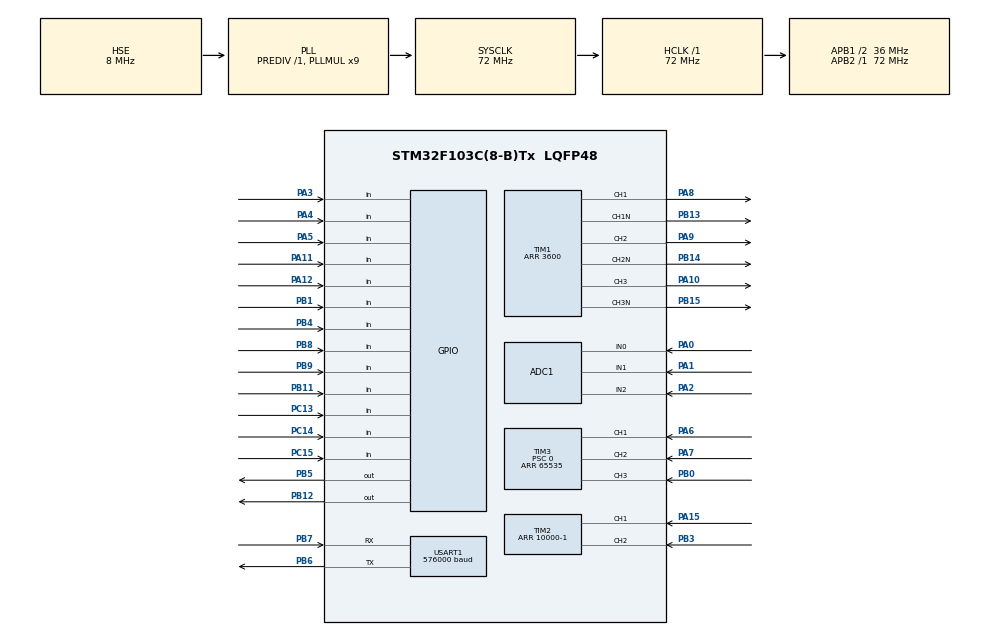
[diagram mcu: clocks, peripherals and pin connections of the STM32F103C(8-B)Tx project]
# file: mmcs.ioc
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ADC1.Channel-1\#ChannelInjectedConversion=ADC_CHANNEL_2
ADC1.EnableInjectedConversion=ENABLE
ADC1.EnableRegularConversion=DISABLE
ADC1.ExternalTrigInjecConv=ADC_EXTERNALTRIGINJECCONV_T1_CC4
ADC1.InjNumberOfConversion=1
ADC1.InjectedConvMode=Discontinuous
ADC1.InjectedOffset-1\#ChannelInjectedConversion=0
ADC1.InjectedRank-1\#ChannelInjectedConversion=1
ADC1.SamplingTime-1\#ChannelInjectedConversion=ADC_SAMPLETIME_7CYCLES_5
ADC1.master=1
ADC2.Channel-1\#ChannelInjectedConversion=ADC_CHANNEL_1
ADC2.EnableInjectedConversion=ENABLE
ADC2.EnableRegularConversion=DISABLE
ADC2.ExternalTrigInjecConv=ADC_EXTERNALTRIGINJECCONV_T1_CC4
ADC2.InjNumberOfConversion=1
ADC2.InjectedConvMode=Discontinuous
ADC2.InjectedOffset-1\#ChannelInjectedConversion=0
ADC2.InjectedRank-1\#ChannelInjectedConversion=1
ADC2.SamplingTime-1\#ChannelInjectedConversion=ADC_SAMPLETIME_7CYCLES_5
Mcu.Family=STM32F1
Mcu.Name=STM32F103C(8-B)Tx
Mcu.Package=LQFP48
NVIC.ADC1_2_IRQn=true\:2\:0\:true\:false\:true\:true\:true\:true
NVIC.PriorityGroup=NVIC_PRIORITYGROUP_4
NVIC.TIM1_UP_IRQn=true\:0\:0\:false\:false\:true\:true\:true\:true
NVIC.TIM2_IRQn=true\:3\:0\:true\:false\:true\:true\:true\:true
NVIC.TIM3_IRQn=true\:3\:0\:true\:false\:true\:true\:true\:true
NVIC.USART1_IRQn=true\:3\:0\:true\:false\:true\:true\:true\:true
PA0-WKUP.Signal=ADCx_IN0
PA1.Signal=ADCx_IN1
PA10.Signal=S_TIM1_CH3
PA11.GPIO_PuPd=GPIO_PULLUP
PA11.Signal=GPIO_Input
PA12.GPIO_PuPd=GPIO_PULLUP
PA12.Signal=GPIO_Input
PA13.Mode=Serial_Wire
PA13.Signal=SYS_JTMS-SWDIO
PA14.Mode=Serial_Wire
PA14.Signal=SYS_JTCK-SWCLK
PA15.Signal=S_TIM2_CH1_ETR
PA2.Signal=ADCx_IN2
PA3.Signal=GPIO_Input
PA4.Signal=GPIO_Input
PA5.Signal=GPIO_Input
PA6.GPIO_PuPd=GPIO_PULLUP
PA6.Signal=S_TIM3_CH1
PA7.GPIO_PuPd=GPIO_PULLUP
PA7.Signal=S_TIM3_CH2
PA8.Signal=S_TIM1_CH1
PA9.Signal=S_TIM1_CH2
PB0.GPIO_PuPd=GPIO_PULLUP
PB0.Signal=S_TIM3_CH3
PB1.Signal=GPIO_Input
PB10.Signal=S_TIM2_CH3
PB11.Signal=GPIO_Input
PB12.Signal=GPIO_Output
PB13.Mode=PWM Generation1 CH1 CH1N
PB13.Signal=TIM1_CH1N
PB14.Mode=PWM Generation2 CH2 CH2N
PB14.Signal=TIM1_CH2N
PB15.Mode=PWM Generation3 CH3 CH3N
PB15.Signal=TIM1_CH3N
PB3.Signal=S_TIM2_CH2
PB4.GPIO_PuPd=GPIO_PULLUP
PB4.Signal=GPIO_Input
PB5.PinState=GPIO_PIN_SET
PB5.Signal=GPIO_Output
PB6.Mode=Asynchronous
PB6.Signal=USART1_TX
PB7.Mode=Asynchronous
PB7.Signal=USART1_RX
PB8.GPIO_PuPd=GPIO_PULLUP
PB8.Signal=GPIO_Input
PB9.GPIO_PuPd=GPIO_PULLUP
PB9.Signal=GPIO_Input
PC13-TAMPER-RTC.GPIO_PuPd=GPIO_PULLUP
PC13-TAMPER-RTC.Signal=GPIO_Input
PC14-OSC32_IN.GPIO_PuPd=GPIO_PULLUP
PC14-OSC32_IN.Signal=GPIO_Input
PC15-OSC32_OUT.GPIO_PuPd=GPIO_PULLUP
PC15-OSC32_OUT.Signal=GPIO_Input
PD0-OSC_IN.Mode=HSE-External-Oscillator
PD0-OSC_IN.Signal=RCC_OSC_IN
PD1-OSC_OUT.Mode=HSE-External-Oscillator
PD1-OSC_OUT.Signal=RCC_OSC_OUT
ProjectManager.HeapSize=0x200
ProjectManager.StackSize=0x400
ProjectManager.TargetToolchain=MDK-ARM V5
RCC.ADCPresc=RCC_ADCPCLK2_DIV6
RCC.AHBFreq_Value=72000000
RCC.APB1CLKDivider=RCC_HCLK_DIV2
RCC.APB1Freq_Value=36000000
RCC.APB1TimFreq_Value=72000000
RCC.APB2Freq_Value=72000000
RCC.APB2TimFreq_Value=72000000
RCC.HCLKFreq_Value=72000000
RCC.PLLMUL=RCC_PLL_MUL9
RCC.PLLSourceVirtual=RCC_PLLSOURCE_HSE
RCC.SYSCLKFreq_VALUE=72000000
RCC.SYSCLKSource=RCC_SYSCLKSOURCE_PLLCLK
RCC.USBFreq_Value=72000000
SH.ADCx_IN0.0=ADC1_IN0,IN0
SH.ADCx_IN0.1=ADC2_IN0,IN0
SH.ADCx_IN1.0=ADC1_IN1,IN1
SH.ADCx_IN1.1=ADC2_IN1,IN1
SH.ADCx_IN2.0=ADC1_IN2,IN2
SH.ADCx_IN2.1=ADC2_IN2,IN2
SH.S_TIM1_CH1.0=TIM1_CH1,PWM Generation1 CH1 CH1N
SH.S_TIM1_CH2.0=TIM1_CH2,PWM Generation2 CH2 CH2N
SH.S_TIM1_CH3.0=TIM1_CH3,PWM Generation3 CH3 CH3N
SH.S_TIM2_CH1_ETR.0=TIM2_CH1,Encoder_Interface
SH.S_TIM2_CH2.0=TIM2_CH2,Encoder_Interface
SH.S_TIM2_CH3.0=TIM2_CH3
SH.S_TIM3_CH1.0=TIM3_CH1,Xored_Inputs_Hall_Sensor_Interface
SH.S_TIM3_CH2.0=TIM3_CH2,Xored_Inputs_Hall_Sensor_Interface
SH.S_TIM3_CH3.0=TIM3_CH3,Xored_Inputs_Hall_Sensor_Interface
TIM1.BreakPolarity=TIM_BREAKPOLARITY_LOW
TIM1.Channel-PWM\ Generation1\ CH1\ CH1N=TIM_CHANNEL_1
TIM1.Channel-PWM\ Generation2\ CH2\ CH2N=TIM_CHANNEL_2
TIM1.Channel-PWM\ Generation3\ CH3\ CH3N=TIM_CHANNEL_3
TIM1.Channel-PWM\ Generation4\ No\ Output=TIM_CHANNEL_4
TIM1.ClockDivision=TIM_CLOCKDIVISION_DIV2
TIM1.CounterMode=TIM_COUNTERMODE_CENTERALIGNED1
TIM1.DeadTime=5
TIM1.LockLevel=TIM_LOCKLEVEL_1
TIM1.OCMode_PWM-PWM\ Generation4\ No\ Output=TIM_OCMODE_PWM2
TIM1.OffStateIDLEMode=TIM_OSSI_ENABLE
TIM1.OffStateRunMode=TIM_OSSR_ENABLE
TIM1.Period=3600
TIM1.Pulse-PWM\ Generation4\ No\ Output=3600-2
TIM1.RepetitionCounter=1
TIM2.EncoderMode=TIM_ENCODERMODE_TI12
TIM2.IC1Filter=9
TIM2.IC2Filter=9
TIM2.Period=10000-1
TIM3.IC1Filter=11
TIM3.Period=65535
TIM3.Prescaler=0
USART1.BaudRate=576000
USART1.VirtualMode=VM_ASYNC
VP_TIM1_VS_ClockSourceINT.Mode=Internal
VP_TIM1_VS_no_output4.Mode=PWM Generation4 No Output
VP_TIM3_VS_ClockSourceINT.Mode=Internal
board=custom

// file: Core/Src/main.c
/* USER CODE BEGIN Header */
/**
  ******************************************************************************
  * @file           : main.c
  * @brief          : Main program body
  ******************************************************************************
  * @attention
  *
  * Copyright (c) 2024 STMicroelectronics.
  * All rights reserved.
  *
  * This software is licensed under terms that can be found in the LICENSE file
  * in the root directory of this software component.
  * If no LICENSE file comes with this software, it is provided AS-IS.
  *
  ******************************************************************************
  */
/* USER CODE END Header */
#include "main.h"
#include "adc.h"
#include "tim.h"
#include "usart.h"
#include "gpio.h"

/* USER CODE BEGIN Includes */
#include "mc_aux.h"
#include "mmcs_s2f.h"
#include "key_process.h"
#include "led.h"
#include "vofa_justfloat_engine.h"
#include "spd_sensor.h"
#include "over_current_detect.h"
#include "msconfig.h"
#include "func_test.h"

/* USER CODE END Includes */

void SystemClock_Config(void);

int main(void)
{

  /* MCU Configuration--------------------------------------------------------*/

  /* Reset of all peripherals, Initializes the Flash interface and the Systick. */
  HAL_Init();

  /* Configure the system clock */
  SystemClock_Config();

  /* Initialize all configured peripherals */
  MX_GPIO_Init();
  MX_ADC1_Init();
  MX_ADC2_Init();
  MX_TIM1_Init();
  MX_TIM2_Init();
  MX_USART1_UART_Init();
  MX_TIM3_Init();
  /* USER CODE BEGIN 2 */
  KeyProcInit();
  mmcs_s2f_initialize();
  McKeySetSysCtrlMode();
  LedInit();
  OcDetectInit();
  McAuxInit();
  ADC1_Start_IT();
  SystickConfig();
  SensorInit();
  PwmTimStart();
  McCalcOffsetVol();

  /* USER CODE END 2 */

  /* Infinite loop */
  while (1)
  {

    /* USER CODE BEGIN 3 */

	/* key process */
	uint8_t i;
	for(i = 0; i < 10; i++)
	{
		KeyProcess();
	}

//	PosCtrlAutoPan();

	/* FOC variable sending */
	JustfloatSendFocVar();

  }
  /* USER CODE END 3 */
}

void SystemClock_Config(void)
{
  RCC_OscInitTypeDef RCC_OscInitStruct = {0};
  RCC_ClkInitTypeDef RCC_ClkInitStruct = {0};
  RCC_PeriphCLKInitTypeDef PeriphClkInit = {0};

  /** Initializes the RCC Oscillators according to the specified parameters
  * in the RCC_OscInitTypeDef structure.
  */
  RCC_OscInitStruct.OscillatorType = RCC_OSCILLATORTYPE_HSE;
  RCC_OscInitStruct.HSEState = RCC_HSE_ON;
  RCC_OscInitStruct.HSEPredivValue = RCC_HSE_PREDIV_DIV1;
  RCC_OscInitStruct.HSIState = RCC_HSI_ON;
  RCC_OscInitStruct.PLL.PLLState = RCC_PLL_ON;
  RCC_OscInitStruct.PLL.PLLSource = RCC_PLLSOURCE_HSE;
  RCC_OscInitStruct.PLL.PLLMUL = RCC_PLL_MUL9;
  if (HAL_RCC_OscConfig(&RCC_OscInitStruct) != HAL_OK)
  {
    Error_Handler();
  }
  /** Initializes the CPU, AHB and APB buses clocks
  */
  RCC_ClkInitStruct.ClockType = RCC_CLOCKTYPE_HCLK|RCC_CLOCKTYPE_SYSCLK
                              |RCC_CLOCKTYPE_PCLK1|RCC_CLOCKTYPE_PCLK2;
  RCC_ClkInitStruct.SYSCLKSource = RCC_SYSCLKSOURCE_PLLCLK;
  RCC_ClkInitStruct.AHBCLKDivider = RCC_SYSCLK_DIV1;
  RCC_ClkInitStruct.APB1CLKDivider = RCC_HCLK_DIV2;
  RCC_ClkInitStruct.APB2CLKDivider = RCC_HCLK_DIV1;

  if (HAL_RCC_ClockConfig(&RCC_ClkInitStruct, FLASH_LATENCY_2) != HAL_OK)
  {
    Error_Handler();
  }
  PeriphClkInit.PeriphClockSelection = RCC_PERIPHCLK_ADC;
  PeriphClkInit.AdcClockSelection = RCC_ADCPCLK2_DIV6;
  if (HAL_RCCEx_PeriphCLKConfig(&PeriphClkInit) != HAL_OK)
  {
    Error_Handler();
  }
}

void Error_Handler(void)
{
  __disable_irq();
  while (1)
  {
  }
}
